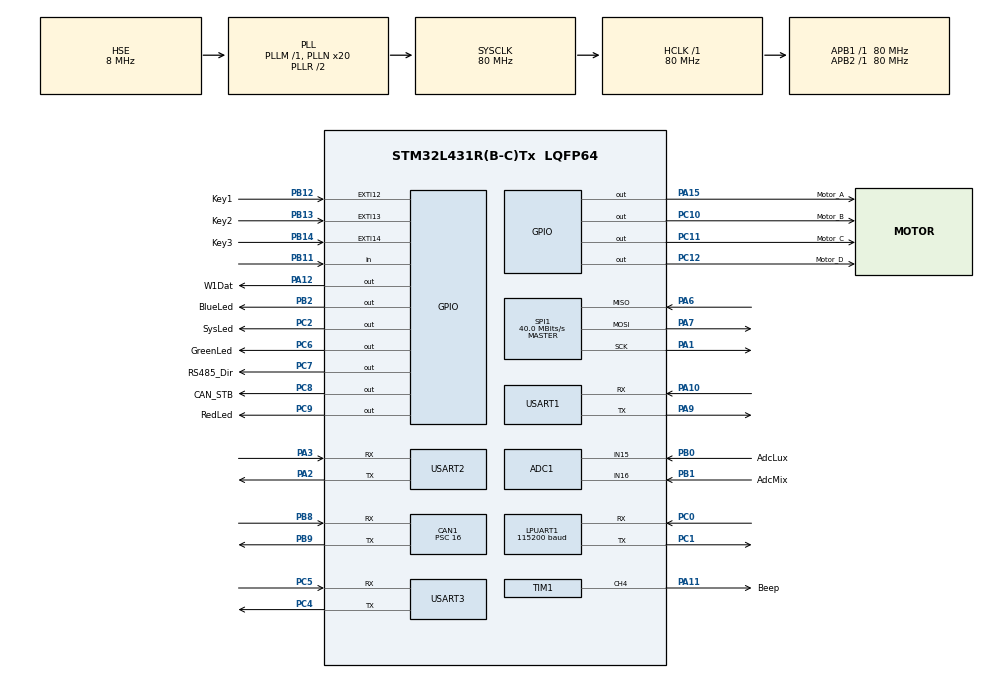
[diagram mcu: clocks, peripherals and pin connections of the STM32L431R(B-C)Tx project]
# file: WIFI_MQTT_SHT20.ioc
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ADC1.Channel-0\#ChannelRegularConversion=ADC_CHANNEL_15
ADC1.Channel-1\#ChannelRegularConversion=ADC_CHANNEL_16
ADC1.ContinuousConvMode=ENABLE
ADC1.NbrOfConversion=2
ADC1.NbrOfConversionFlag=1
ADC1.OffsetNumber-0\#ChannelRegularConversion=ADC_OFFSET_NONE
ADC1.OffsetNumber-1\#ChannelRegularConversion=ADC_OFFSET_NONE
ADC1.Rank-0\#ChannelRegularConversion=1
ADC1.Rank-1\#ChannelRegularConversion=2
ADC1.SamplingTime-0\#ChannelRegularConversion=ADC_SAMPLETIME_2CYCLES_5
ADC1.SamplingTime-1\#ChannelRegularConversion=ADC_SAMPLETIME_2CYCLES_5
ADC1.master=1
CAN1.ABOM=DISABLE
CAN1.AWUM=DISABLE
CAN1.BS1=CAN_BS1_8TQ
CAN1.CalculateBaudRate=500000
CAN1.CalculateTimeBit=2000
CAN1.CalculateTimeQuantum=200.0
CAN1.Mode=CAN_MODE_LOOPBACK
CAN1.NART=DISABLE
CAN1.Prescaler=16
FREERTOS.BinarySemaphores01=myBinarySem01,Dynamic,NULL
FREERTOS.INCLUDE_xTimerPendFunctionCall=1
FREERTOS.Queues01=Queue,256,uint8_t,0,Dynamic,NULL,NULL
FREERTOS.Tasks01=MQTT06,2,380,mqttTask06,Default,NULL,Dynamic,NULL,NULL;Receive5,1,360,ReceiveTask5,Default,NULL,Dynamic,NULL,NULL;LEDtask03,0,320,StartTask03,Default,NULL,Dynamic,NULL,NULL
FREERTOS.Timers01=myTimer01,Callback01,osTimerPeriodic,Default,NULL,Dynamic,NULL
FREERTOS.configTIMER_TASK_PRIORITY=5
FREERTOS.configTIMER_TASK_STACK_DEPTH=350
FREERTOS.configTOTAL_HEAP_SIZE=7000
FREERTOS.configUSE_NEWLIB_REENTRANT=1
FREERTOS.configUSE_TIMERS=1
LPUART1.BaudRate=115200
LPUART1.WordLength=UART_WORDLENGTH_8B
Mcu.Family=STM32L4
Mcu.Name=STM32L431R(B-C)Tx
Mcu.Package=LQFP64
NVIC.CAN1_RX0_IRQn=true\:5\:0\:false\:false\:true\:true\:true\:true\:true
NVIC.CAN1_RX1_IRQn=true\:5\:0\:false\:false\:true\:true\:true\:true\:true
NVIC.EXTI15_10_IRQn=true\:5\:0\:true\:false\:true\:true\:true\:true\:true
NVIC.LPUART1_IRQn=true\:5\:0\:false\:false\:true\:true\:true\:true\:true
NVIC.PriorityGroup=NVIC_PRIORITYGROUP_4
NVIC.TIM2_IRQn=true\:15\:0\:false\:false\:true\:false\:false\:true\:true
NVIC.TimeBase=TIM2_IRQn
NVIC.TimeBaseIP=TIM2
NVIC.USART1_IRQn=true\:5\:0\:false\:false\:true\:true\:true\:true\:true
NVIC.USART2_IRQn=true\:5\:0\:false\:false\:true\:true\:true\:true\:true
NVIC.USART3_IRQn=true\:5\:0\:false\:false\:true\:true\:true\:true\:true
PA1.Mode=Full_Duplex_Master
PA1.Signal=SPI1_SCK
PA10.Mode=Asynchronous
PA10.Signal=USART1_RX
PA11.GPIO_Label=Beep
PA11.GPIO_PuPd=GPIO_PULLDOWN
PA11.GPIO_Speed=GPIO_SPEED_FREQ_LOW
PA11.Signal=S_TIM1_CH4
PA12.GPIO_Label=W1Dat
PA12.GPIO_Speed=GPIO_SPEED_FREQ_HIGH
PA12.PinState=GPIO_PIN_SET
PA12.Signal=GPIO_Output
PA13\ (JTMS-SWDIO).Mode=Serial_Wire
PA13\ (JTMS-SWDIO).Signal=SYS_JTMS-SWDIO
PA14\ (JTCK-SWCLK).Mode=Serial_Wire
PA14\ (JTCK-SWCLK).Signal=SYS_JTCK-SWCLK
PA15\ (JTDI).GPIO_Label=Motor_A
PA15\ (JTDI).Signal=GPIO_Output
PA2.Mode=Asynchronous
PA2.Signal=USART2_TX
PA3.Mode=Asynchronous
PA3.Signal=USART2_RX
PA6.Mode=Full_Duplex_Master
PA6.Signal=SPI1_MISO
PA7.Mode=Full_Duplex_Master
PA7.Signal=SPI1_MOSI
PA9.Mode=Asynchronous
PA9.Signal=USART1_TX
PB0.GPIO_Label=AdcLux
PB0.Signal=ADCx_IN15
PB1.GPIO_Label=AdcMix
PB1.Signal=ADCx_IN16
PB11.GPIO_PuPd=GPIO_PULLDOWN
PB11.Signal=GPIO_Input
PB12.GPIO_Label=Key1
PB12.GPIO_ModeDefaultEXTI=GPIO_MODE_IT_FALLING
PB12.Signal=GPXTI12
PB13.GPIO_Label=Key2
PB13.GPIO_ModeDefaultEXTI=GPIO_MODE_IT_FALLING
PB13.Signal=GPXTI13
PB14.GPIO_Label=Key3
PB14.GPIO_ModeDefaultEXTI=GPIO_MODE_IT_FALLING
PB14.Signal=GPXTI14
PB2.GPIO_Label=BlueLed
PB2.PinState=GPIO_PIN_SET
PB2.Signal=GPIO_Output
PB8.Mode=CAN_Activate
PB8.Signal=CAN1_RX
PB9.Mode=CAN_Activate
PB9.Signal=CAN1_TX
PC0.Mode=Asynchronous
PC0.Signal=LPUART1_RX
PC1.Mode=Asynchronous
PC1.Signal=LPUART1_TX
PC10.GPIO_Label=Motor_B
PC10.Signal=GPIO_Output
PC11.GPIO_Label=Motor_C
PC11.Signal=GPIO_Output
PC12.GPIO_Label=Motor_D
PC12.Signal=GPIO_Output
PC2.GPIO_Label=SysLed
PC2.PinState=GPIO_PIN_SET
PC2.Signal=GPIO_Output
PC4.Mode=Asynchronous
PC4.Signal=USART3_TX
PC5.Mode=Asynchronous
PC5.Signal=USART3_RX
PC6.GPIO_Label=GreenLed
PC6.PinState=GPIO_PIN_SET
PC6.Signal=GPIO_Output
PC7.GPIO_Label=RS485_Dir
PC7.PinState=GPIO_PIN_SET
PC7.Signal=GPIO_Output
PC8.GPIO_Label=CAN_STB
PC8.Signal=GPIO_Output
PC9.GPIO_Label=RedLed
PC9.PinState=GPIO_PIN_SET
PC9.Signal=GPIO_Output
PH0-OSC_IN\ (PH0).Mode=HSE-External-Oscillator
PH0-OSC_IN\ (PH0).Signal=RCC_OSC_IN
PH1-OSC_OUT\ (PH1).Mode=HSE-External-Oscillator
PH1-OSC_OUT\ (PH1).Signal=RCC_OSC_OUT
ProjectManager.HeapSize=0x200
ProjectManager.StackSize=0x400
ProjectManager.TargetToolchain=STM32CubeIDE
RCC.ADCFreq_Value=32000000
RCC.AHBFreq_Value=80000000
RCC.APB1Freq_Value=80000000
RCC.APB1TimFreq_Value=80000000
RCC.APB2Freq_Value=80000000
RCC.APB2TimFreq_Value=80000000
RCC.CortexFreq_Value=80000000
RCC.HCLKFreq_Value=80000000
RCC.HSE_VALUE=8000000
RCC.HSI48_VALUE=48000000
RCC.HSI_VALUE=16000000
RCC.LSE_VALUE=32768
RCC.MSI_VALUE=4000000
RCC.PLLN=20
RCC.PLLSourceVirtual=RCC_PLLSOURCE_HSE
RCC.SYSCLKFreq_VALUE=80000000
RCC.SYSCLKSource=RCC_SYSCLKSOURCE_PLLCLK
RCC.VCOOutputFreq_Value=160000000
SH.ADCx_IN15.0=ADC1_IN15,IN15-Single-Ended
SH.ADCx_IN16.0=ADC1_IN16,IN16-Single-Ended
SH.S_TIM1_CH4.0=TIM1_CH4,PWM Generation4 CH4
SPI1.CalculateBaudRate=40.0 MBits/s
SPI1.DataSize=SPI_DATASIZE_8BIT
SPI1.Direction=SPI_DIRECTION_2LINES
SPI1.Mode=SPI_MODE_MASTER
SPI1.VirtualType=VM_MASTER
TIM1.Channel-PWM\ Generation4\ CH4=TIM_CHANNEL_4
TIM1.Period=370-1
TIM1.Prescaler=80-1
TIM1.Pulse-PWM\ Generation4\ CH4=185
TIM6.Prescaler=79
USART1.VirtualMode-Asynchronous=VM_ASYNC
USART2.VirtualMode-Asynchronous=VM_ASYNC
USART3.VirtualMode-Asynchronous=VM_ASYNC
VP_FREERTOS_VS_CMSIS_V1.Mode=CMSIS_V1
VP_SYS_VS_tim2.Mode=TIM2
VP_TIM6_VS_ClockSourceINT.Mode=Enable_Timer
board=custom

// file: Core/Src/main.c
/* USER CODE BEGIN Header */
/**
  ******************************************************************************
  * @file           : main.c
  * @brief          : Main program body
  ******************************************************************************
  * @attention
  *
  * Copyright (c) 2023 STMicroelectronics.
  * All rights reserved.
  *
  * This software is licensed under terms that can be found in the LICENSE file
  * in the root directory of this software component.
  * If no LICENSE file comes with this software, it is provided AS-IS.
  *
  ******************************************************************************
  */
/* USER CODE END Header */
#include "main.h"
#include "cmsis_os.h"
#include "adc.h"
#include "can.h"
#include "usart.h"
#include "spi.h"
#include "tim.h"
#include "gpio.h"

/* USER CODE BEGIN Includes */
#include "ds18b20.h"
#include "core_json.h"
#include <string.h>
#include "sht20.h"
#include "w25q32.h"
#include "hal_oled.h"
#include "oledbmp.h"
#include "esp8266.h"
#include "core_mqtt.h"
#include "main_other.h"
#include "step_motor.h"
/* USER CODE END Includes */

/* USER CODE BEGIN PV */
#define FLAG_WIFI_CONNECTED   (1<<0) /*WiFi杩炴帴璺敱鍣ㄦ爣蹇椾綅 */
#define FLAG_SOCK_CONNECTED   (1<<1) /*Socket杩炴帴鏈嶅姟鍣ㄦ爣蹇椾綅 */

#if 1   //aliyun
#define DEF_ROUTER_SSID       "vivo99"//"yyqx"//"Red"// "4G-UFI-9841"// "HUAWEI-4002AJ"
#define DEF_ROUTER_PWD        "vivo12345ok"//"yyqx001128" // "12345678" //"1234567890" //"k7753375c"

#define MQTT_BROKER_HOSTNAME    "iot-06z00gtlyl9spna.mqtt.iothub.aliyuncs.com"
#define MQTT_BROKER_PORT         1883
#define MQTT_BROKER_USERNAME    "mqtt&k03xhWKZgEd"
#define MQTT_BROKER_PASSWORD    "6c5b069cda2540aca4dde9bd4224f14f7e44982c1bb97333b64d65ba514061e4"
#define MQTT_CLIENT_ID          "k03xhWKZgEd.mqtt|securemode=2,signmethod=hmacsha256,timestamp=1692991689358|"

#define PRODUCT_KEY             "k03xhWKZgEd"
#define DEVICE_NAME             "mqtt"
#define MQTT_PUB_TOPIC          "/sys/"PRODUCT_KEY"/"DEVICE_NAME"/thing/event/property/post"
#define MQTT_SUB_TOPIC          "/sys/"PRODUCT_KEY"/"DEVICE_NAME"/thing/event/property/set"
#endif

#if 0   //huawei
#define DEF_ROUTER_SSID          "4G-UFI-9841" //wifi名称  // "HUAWEI-4002AJ"
#define DEF_ROUTER_PWD           "1234567890"  //wifi密码   //  "k7753375c"

#define MQTT_BROKER_HOSTNAME    "3c065aa5d0.st1.iotda-device.cn-north-4.myhuaweicloud.com" //域名
#define MQTT_BROKER_PORT         1883   //端口

#define MQTT_BROKER_USERNAME    "64f748c3a559fd7cd4119b3a_2023mqtt"
#define MQTT_BROKER_PASSWORD    "8cd1ef5a51cf1e500b4ba3b3654ce6a83e66388c5da69bba1195c6d2ffbcc6cc"
#define MQTT_CLIENT_ID          "64f748c3a559fd7cd4119b3a_2023mqtt_0_0_2023090603"

#define MQTT_PUB_TOPIC          "$oc/devices/"MQTT_BROKER_USERNAME"/sys/properties/report"
#define MQTT_SUB_TOPIC          "$oc/devices/"MQTT_BROKER_USERNAME"/sys/commands/#"
#endif
/* USER CODE END PV */

void SystemClock_Config(void);
void MX_FREERTOS_Init(void);

/* USER CODE BEGIN 0 */
int report_tempRH2_json(void);
int parser_led_json(char *json_string,int bytes);
//static void proc_uart1_recv(void);
//static void proc_uart3_recv(void);
//static void proc_lpuart1_recv(void);
void mqtt_subscribe_proc(void);
int aliyun_json(char *payload,int payloadlen,char *test);
void OLED_environment(void);
/* USER CODE END 0 */

int main(void)
{
  /* USER CODE BEGIN 1 */
	//	unsigned char     buf1[256];
	//	unsigned char     buf2[256];
#if 0
	uint32_t          last_time=0;
	int               rv;
	char              ipaddr[16];
	char              gateway[16];
	unsigned char     wifi_flag=0;
#endif
//	float temperature;
//	uint32_t      lux,noisy;
//	uint32_t      start=0;
//	uint8_t       light_status=0;
//	int         ret;
//	int         i;
//	int         value;
//	uint8_t     Txdata[8] = {12,22,31,43,52,62,73,81};
//	char  *p = "{\"BlueLed\":\"OFF\",\"RedLed\":\"off\",\"GreenLed\":\"ON\"}";
//	char  *p = "12345678934566";
//	uint8_t     txdata[8] = {0x11,0x22,0x33,0x01,0x02,0x03,0x07,0x08};

//	uint8_t     rxdata1[8]={0};
//	uint8_t     rxdata2[8]={0};
  /* USER CODE END 1 */

  /* MCU Configuration--------------------------------------------------------*/

  /* Reset of all peripherals, Initializes the Flash interface and the Systick. */
  HAL_Init();

  /* Configure the system clock */
  SystemClock_Config();

  /* Initialize all configured peripherals */
  MX_GPIO_Init();
  MX_ADC1_Init();
  MX_TIM6_Init();
  MX_USART1_UART_Init();
  MX_SPI1_Init();
  MX_USART2_UART_Init();
  MX_TIM1_Init();
  MX_CAN1_Init();
  MX_LPUART1_UART_Init();
  MX_USART3_UART_Init();
  /* USER CODE BEGIN 2 */
//  printf("<<< Run FreeRTOS >>>\r\n");
  /* USER CODE END 2 */

  /* Call init function for freertos objects (in freertos.c) */
//  MX_FREERTOS_Init();

  /* Start scheduler */
//  osKernelStart();
  /* We should never get here as control is now taken by the scheduler */
  /* Infinite loop */
  /* USER CODE BEGIN WHILE */
      OLED_Init();
//      OLED_On();
//      OLED_ShowString(2,2,"Lee",2);
//      HAL_Delay(2000);
//      OLED_Clear();
      printf("<<< Run Bare computer >>>\r\n");
//	esp8266_module_init();

//	  sysled_hearbeat();

//    beep_start(2,200);

//	  step_motor_start(90,1);
//	  step_motor_stop();

  while (1)
  {
//	  int ledtesk=0xFFFF;//占空比
//	  int LEDtime=0;//增加次数
//
//	  if( ledtesk>0 )
//	  {
//		  ledtesk=ledtesk-500;//变亮 10000,9500,,,0
////		  LEDtime++;
//	  }
//	  else
//	  {
////		  LEDtime=0;
//		  ledtesk=0xFFFF;
//	  }
////	  TIM_SetCompare3();
//	  __HAL_TIM_SetCompare(&htim1, TIM_CHANNEL_4, ledtesk); //ledtesk占空比
//	  HAL_Delay(100);

//	  red();

//	  proc_lpuart1_recv();
//	  proc_uart3_recv();

//	  can_main();
//	 CAN_Receive_Buf();

#if 0
	  OLED_environment();
	  HAL_Delay(1500);
	  //uart_forward();
	  if(!(wifi_flag&FLAG_WIFI_CONNECTED))
	  {
		 if( esp8266_join_network(DEF_ROUTER_SSID,DEF_ROUTER_PWD))
		 {//0 is connect success
			 esp8266_module_init();
			 HAL_Delay(2000);
			 continue;
		 }
		 if(esp8266_get_ipaddr(ipaddr,gateway,sizeof(ipaddr)))
		 {
			 HAL_Delay(1000);
			 continue;
		 }
		 if(esp8266_ping_test(gateway))
		 {
			 HAL_Delay(1000);
			 continue;
		 }
		 wifi_flag |= FLAG_WIFI_CONNECTED;
	  }

	  /*缃戠粶socket娌℃湁杩炴帴涓妔ocket鏈嶅姟鍣ㄥ氨寮�濮嬭繛鎺ユ湇鍔�?�櫒*/
	  if(!(wifi_flag&FLAG_SOCK_CONNECTED))
	  {
		  rv=mqtt_connect(MQTT_BROKER_HOSTNAME,MQTT_BROKER_PORT,MQTT_CLIENT_ID,MQTT_BROKER_USERNAME,MQTT_BROKER_PASSWORD);
		  if( rv )
		  {//0 is connect success
			  HAL_Delay(2000);
			  continue;
		  }

		  mqtt_subscribe_topic(MQTT_SUB_TOPIC,Qos0,1);

		  wifi_flag |= FLAG_SOCK_CONNECTED;
	  }

	  mqtt_subscribe_proc();

	  if(time_after(HAL_GetTick(),last_time+30000))
	  {
		  rv=report_tempRH2_json();
		 // rv=esp8266_sock_send("hello",strlen("hello"));//rv=bytes
		  if( 0 == rv )
		  {
			  printf("ESP8266 MQTT publish message ok\n");
			  clear_atcmd_buf();
		  }
		  else
		  {
			  printf("ESP8266 MQTT publish message failure,rv=%d\n",rv);
			  wifi_flag &= ~FLAG_SOCK_CONNECTED;
			  if(esp8266_ping_test(gateway))
			  {
				  wifi_flag &= ~FLAG_WIFI_CONNECTED;
			  }
		  }

		  last_time=HAL_GetTick();
	  }
#endif

#if 0
	  //OLED鏄剧ず娓╂箍搴�
	  sht20_sample_temp_or_hum(0xF3,&temp);
	  sht20_sample_temp_or_hum(0xF5,&humi);
	  sprintf((char *)temp_num,"%.2f",temp);
	  sprintf((char *)humi_num,"%.2f",humi);
	  HAL_Delay(200);
	  OLED_ShowString(32,0,temp_num,16);
	  OLED_ShowString(32,2,humi_num,16);
#endif

//	  adc_sample_lux_noisy(&lux,&noisy);
//	  snprintf(lux_num,sizeof(lux_num),":%04d",lux);
//	  snprintf(noisy_num,sizeof(noisy_num),":%04d",noisy);
//	  HAL_Delay(200);

//	  OLED_ShowString(32,0,lux_num,16);
//	  OLED_ShowString(32,2,noisy_num,16);

/*	  report_tempRH2_json();
	  HAL_Delay(3000);
*/

//	  proc_uart1_recv();//璋冪敤杩欎釜鍑芥暟浠巄uf[]涓仛鏁版嵁瑙ｆ�???????????????????????????????????????????????????????

/*	  if(report_tempRH2_json()<0)
	  {
		  printf("ERROR:UART report temprature and humidity failure\r\n");
	  }
	  HAL_Delay(3000);
*/

//	  if(DS18B20_SampleData(&temperature)<0)//娓╁害浼犳劅锟�???????????????
//	  {
//		  printf("ERROR:DS18B20 Sample Data failure\r\n");
//	  }
//	  else
//	  {
//		  printf("DS18B20 Sample Temperature:%.3f \r\n",temperature);
//	  }
//	  HAL_Delay(3000);//3绉掗噰闆嗕竴锟�????????????????

#if 0
	  adc_sample_lux_noisy(&lux,&noisy);
	  printf("lux[%lu] noisy[%lu]\r\n",lux,noisy);
	  HAL_Delay(5000);
#endif
//	  if(lux<50&&noisy>800)
//	  {
//		  printf("Turn Light ON\r\n");
//		  turn_led(GreenLed,ON);
//		  light_status=ON;
//		  start=HAL_GetTick();
//	  }
//	  else
//	  {
//		  if(time_after(HAL_GetTick(),start+5000))
//		  {
//			  printf("Turn Light OFF\r\n");
//			  turn_led(GreenLed,OFF);
//			  HAL_Delay(200);
//			  light_status=OFF;
//		  }
//	  }
//	  HAL_Delay(10);

/*
	  //楠岃瘉寰璁℃椂鏄惁鍑嗙�???????????????????????????????????????????????????????
	  int i;
	  turn_led(BlueLed,ON);
	  for(i=0;i<100;i++)
	  {
	  	delay_us(5000);//5msX100锟�?????????????????????=500msX2=1000ms=1s 鐩稿綋浜庝竴绉掍竴涓懆鏈燂紝璁板綍10绉掓槸鍚︾伅浜�???????????????????????????????????????????????????????10娆�?�嵆锟�?????????????????????
	  }

	  turn_led(BlueLed,OFF);
	  for(i=0;i<100;i++)
	  {
	  	delay_us(5000);//500ms
	  }
*/

    /* USER CODE END WHILE */

  }
}

void SystemClock_Config(void)
{
  RCC_OscInitTypeDef RCC_OscInitStruct = {0};
  RCC_ClkInitTypeDef RCC_ClkInitStruct = {0};

  /** Configure the main internal regulator output voltage
  */
  if (HAL_PWREx_ControlVoltageScaling(PWR_REGULATOR_VOLTAGE_SCALE1) != HAL_OK)
  {
    Error_Handler();
  }

  /** Initializes the RCC Oscillators according to the specified parameters
  * in the RCC_OscInitTypeDef structure.
  */
  RCC_OscInitStruct.OscillatorType = RCC_OSCILLATORTYPE_HSE;
  RCC_OscInitStruct.HSEState = RCC_HSE_ON;
  RCC_OscInitStruct.PLL.PLLState = RCC_PLL_ON;
  RCC_OscInitStruct.PLL.PLLSource = RCC_PLLSOURCE_HSE;
  RCC_OscInitStruct.PLL.PLLM = 1;
  RCC_OscInitStruct.PLL.PLLN = 20;
  RCC_OscInitStruct.PLL.PLLP = RCC_PLLP_DIV7;
  RCC_OscInitStruct.PLL.PLLQ = RCC_PLLQ_DIV2;
  RCC_OscInitStruct.PLL.PLLR = RCC_PLLR_DIV2;
  if (HAL_RCC_OscConfig(&RCC_OscInitStruct) != HAL_OK)
  {
    Error_Handler();
  }

  /** Initializes the CPU, AHB and APB buses clocks
  */
  RCC_ClkInitStruct.ClockType = RCC_CLOCKTYPE_HCLK|RCC_CLOCKTYPE_SYSCLK
                              |RCC_CLOCKTYPE_PCLK1|RCC_CLOCKTYPE_PCLK2;
  RCC_ClkInitStruct.SYSCLKSource = RCC_SYSCLKSOURCE_PLLCLK;
  RCC_ClkInitStruct.AHBCLKDivider = RCC_SYSCLK_DIV1;
  RCC_ClkInitStruct.APB1CLKDivider = RCC_HCLK_DIV1;
  RCC_ClkInitStruct.APB2CLKDivider = RCC_HCLK_DIV1;

  if (HAL_RCC_ClockConfig(&RCC_ClkInitStruct, FLASH_LATENCY_4) != HAL_OK)
  {
    Error_Handler();
  }
}

/* USER CODE BEGIN 4 */
void OLED_environment(void)
{
	float    temperature,humidity;
	char     temp_num[32],humi_num[32];

//	int      lux, noisy;
//	char     lux_num[32], noisy_num[32];

//	adc_sample_lux_noisy((uint32_t *)&lux,(uint32_t *)&noisy);
//	snprintf(lux_num,sizeof(lux_num),":%04d nit",lux);
//	snprintf(noisy_num,sizeof(noisy_num),":%04d dB",noisy);
//	OLED_ShowChinese(0,0,3);
//	OLED_ShowChinese(16,0,4);
//	OLED_ShowChinese(0,2,5);
//	OLED_ShowChinese(16,2,6);
//	OLED_ShowString(32,0,lux_num,16);
//	OLED_ShowString(32,2,noisy_num,16);
//	HAL_Delay(2000);
//	OLED_Clear();

	sht20_sample_temp_or_hum(0xF3,&temperature);
	sht20_sample_temp_or_hum(0xF5,&humidity);
	snprintf(temp_num,sizeof(temp_num),":%2.2f",temperature);
	snprintf(humi_num,sizeof(humi_num),":%2.2f %%",humidity);
	OLED_ShowChinese(0,0,0);
	OLED_ShowChinese(16,0,2);
	OLED_ShowChinese(0,2,1);
	OLED_ShowChinese(16,2,2);
	OLED_ShowString(32,0,temp_num,16);
	OLED_ShowString(32,2,humi_num,16);
	HAL_Delay(2000);
	OLED_Clear();
}

//MQTT
void mqtt_subscribe_proc(void)
{
	unsigned char       buf[256];
	int                 packet_type;
	MQTTString          topicName;
	unsigned char       dup;
	int                 qos;
	unsigned char       retained;
	unsigned  short     msgid;
	unsigned  char     *payload = NULL;
	int                 payloadlen = 0;
	int                 rv;
    char                correct_json[256]={0};

	memset(buf,0,sizeof(buf));
	packet_type=MQTTPacket_read(buf,sizeof(buf),transport_getdata);
	//printf("transport_getdata buf:%s\n",buf);
	//HAL_Delay(3000);

//	if( (packet_type=MQTTPacket_read(buf,sizeof(buf),transport_getdata)) < 0)
//	{
////	printf("Wait aliyun command\n");
//		osDelay(2000);
//		continue;
//	}

	if( packet_type<0 )
	{
		return ;
	}

	switch( packet_type )
	{
		case 0:
		break;

		case PUBLISH:
		{
			rv=MQTTDeserialize_publish(&dup,&qos,&retained,&msgid,&topicName,&payload,&payloadlen,buf,sizeof(buf));
			if( rv == 1)
			{
				printf("MQTT payload:%s\n",payload);
				aliyun_json((char *)payload,payloadlen,correct_json);
				parser_led_json(correct_json,strlen(correct_json));
				//实时上报�?次温湿度数据
				if( 0 == report_tempRH2_json() )
				{
					printf("ESP8266 MQTT publish message ok\n");
					clear_atcmd_buf();
				}
				else
				{
					printf("ESP8266 MQTT publish message failure,rv=%d\n",rv);
				}
			}
			else
			{
				printf("ERROR:MQTTDeserialize_publish failure,rv=%d\n",rv);
			}
			break;
		}
		case CONNACK:
		case PUBACK:
		case SUBACK:
		case UNSUBACK:
		case PUBREC:
		case PUBREL:
		case PUBCOMP:
			break;
	}
}

/*sht20*/
int report_tempRH2_json(void)
{
	char   buf[128];
	float  temperature,humidity;//aliyun
	int    rv;
//	int  temp,humi; //huaweiyun

	if( (sht20_sample_temp_or_hum(0xF3,&temperature) <0 ) || (sht20_sample_temp_or_hum(0xF5,&humidity) <0 ))
	{
		printf("ERROR:sht20 sample data failure\n");
		return -1;
	}

//	temp=(int)temperature;
//	humi=(int)humidity;

	memset(buf,0,sizeof(buf));
//	snprintf(buf,sizeof(buf),"{\"services\":[{\"service_id\":\"mqtt_esp8266\",\"properties\":{\"temp\": %d,\"humi\":%d}}]}",temp,humi);//huaweiyun
	snprintf(buf,sizeof(buf),"{\"params\":{\"CurrentTemperature\":%.2f,\"CurrentHumidity\":%.2f}}",temperature,humidity);//aliyun
	//snprintf(buf,sizeof(buf),"{\"Temperature\":\"%.2f\",\"Humidity\":\"%.2f\"}",temperature,humidity);
	rv=mqtt_publish(MQTT_PUB_TOPIC,Qos0,buf);
	printf("MQTT publish topic [%s] with msg '%s'%s,rv=%d\n",MQTT_PUB_TOPIC,buf,rv? "failure":"ok",rv);
	//rv=esp8266_sock_send((uint8_t *)buf,strlen(buf));
	//HAL_UART_Transmit(&huart1,(uint8_t *)buf,strlen(buf),0xFFFF);
	return rv;
}

/*ds18b20*/
int report_tempRH1_json(void)
{
	char   buf[128];
	float  temperature;

	if(DS18B20_SampleData(&temperature)<0)
	{
		printf("ERROR:sht20_SampleData failure\r\n");
		return -1;
	}
	memset(buf,0,sizeof(buf));
	snprintf(buf,sizeof(buf),"{\"Temperature\":\"%.2f\"}",temperature);
	HAL_UART_Transmit(&huart1,(uint8_t *)buf,strlen(buf),0xFFFF);
	return 0;
}

int aliyun_json(char *payload,int payloadlen,char *correct_json)
{
	char    *ptr=NULL, *start=NULL, *end=NULL;

//	ptr=strstr(payload,"params");
	ptr=strstr(payload,"LEDRGB");
	start=strchr(ptr,'{');
	end=strchr(ptr,'}');
	end++;

	if( start==NULL || end==NULL || start>end )
	{
		printf("ERROR:str not find\n");
		HAL_Delay(2000);
		return 0;
	}
	else
	{
		memcpy(correct_json,start,end-start);
	}

	return 0;
}

int parser_led_json(char *json_string,int bytes)
{
	JSONStatus_t  result;
	char          save;
	char          *value;
	size_t        valen;
	int           i;

	printf("DBUG:Start parsar JSON string:%s\r\n",json_string);

	result=JSON_Validate(json_string,bytes);/*JSON_Validate()鍑芥暟鐢ㄤ簬鍒ゆ柇value鐨勶�???????????????????????????????????????????????????????锟芥槸鍚︽槸鏈夋晥鐨凧SON鏁版�??????????????????????????????????????????????????????*/

	if(JSONPartial==result)
	{
		printf("WARN:JSON document is valid so far but incomplete!\r\n");
		return 0;
	}
	if(JSONSuccess!=result)
	{
		printf("ERROR:JSON document is valid JSON!\r\n");
		return -1;
	}

	for(i=0;i<LedMax;i++)
	{
		result=JSON_Search(json_string,bytes, leds[i].name,strlen(leds[i].name),&value,&valen);

		if(JSONSuccess==result)
		{
			save = value[valen];
			value[valen]='\0';
            //value="on",save=value[2]='\0'
			if(!strncasecmp(value,"on",2))
			{
				printf("DBUG:turn %s ON \r\n",leds[i].name);
				turn_led(i,ON);

			}
			else if(!strncasecmp(value,"off",3))
			{
				printf("DBUG:turn %s OFF \r\n",leds[i].name);
				turn_led(i,OFF);
			}

			value[valen]=save;
		}
	}
	return 1;
}

#if 0
void proc_uart1_recv(void)
{
	if(g_uart1_bytes>0)
	{
		HAL_Delay(200);
		if(0!=parser_led_json(g_uart1_rxbuf,g_uart1_bytes))
		{
			clear_uart1_rxbuf();
		}
	}
}

void proc_uart3_recv(void)
{
	if(g_uart3_bytes>0)
	{
		HAL_Delay(200);
		if(0!=parser_led_json(g_uart3_rxbuf,g_uart3_bytes))
		{
			clear_uart3_rxbuf();
		}
	}
}

void proc_lpuart1_recv(void)
{
	if(g_lpuart1_bytes>0)
	{
		HAL_Delay(200);
		if(0!=parser_led_json(g_lpuart1_rxbuf,g_lpuart1_bytes))
		{
			clear_lpuart1_rxbuf();
		}
	}
}
#endif
/* USER CODE END 4 */

void HAL_TIM_PeriodElapsedCallback(TIM_HandleTypeDef *htim)
{
  if (htim->Instance == TIM2) {
    HAL_IncTick();
  }
}

void Error_Handler(void)
{
  __disable_irq();
  while (1)
  {
  }
}
